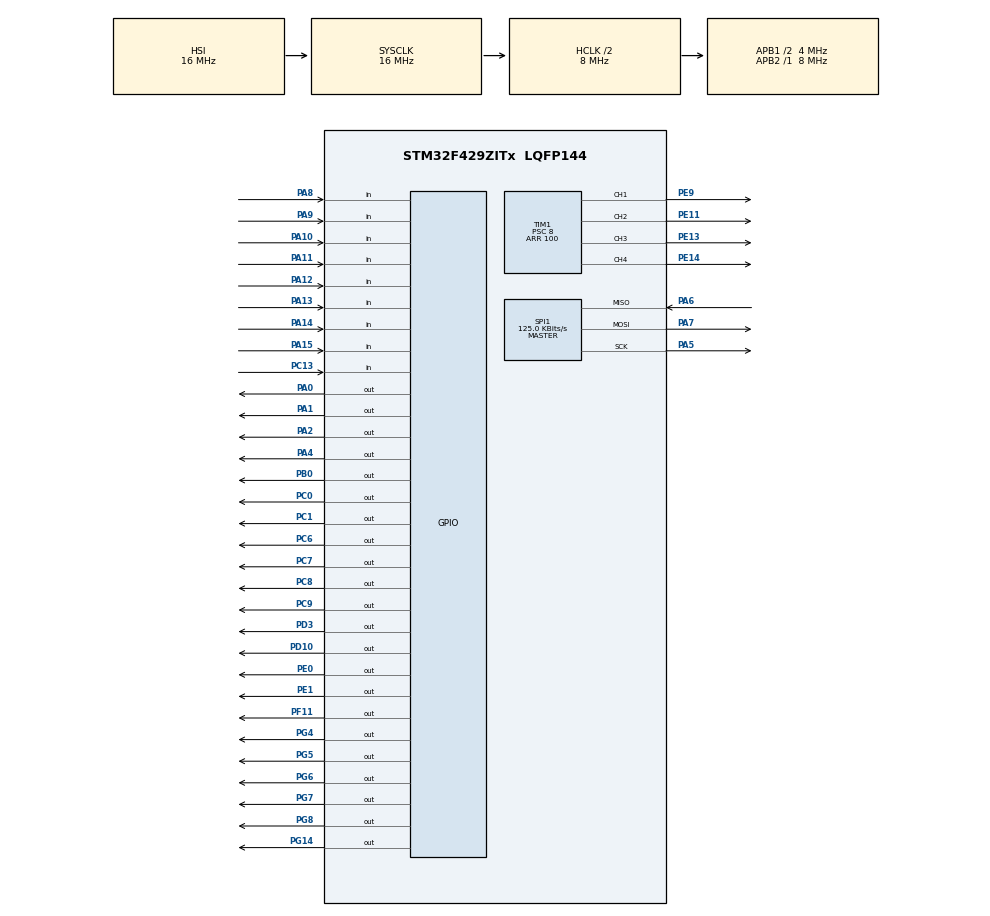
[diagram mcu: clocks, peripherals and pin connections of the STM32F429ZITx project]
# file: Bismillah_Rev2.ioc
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FREERTOS.Tasks01=defaultTask,0,128,Thread1,Default,NULL,Dynamic,NULL,NULL;thread2,-3,128,Thread2,Default,NULL,Dynamic,NULL,NULL
Mcu.Family=STM32F4
Mcu.Name=STM32F429ZITx
Mcu.Package=LQFP144
NVIC.PriorityGroup=NVIC_PRIORITYGROUP_4
NVIC.TIM2_IRQn=true\:0\:0\:false\:false\:true\:false\:false
NVIC.TimeBase=TIM2_IRQn
NVIC.TimeBaseIP=TIM2
PA0/WKUP.Signal=GPIO_Output
PA1.Signal=GPIO_Output
PA10.Signal=GPIO_Input
PA11.Signal=GPIO_Input
PA12.Signal=GPIO_Input
PA13.Signal=GPIO_Input
PA14.Signal=GPIO_Input
PA15.GPIO_PuPd=GPIO_PULLUP
PA15.Signal=GPIO_Input
PA2.Signal=GPIO_Output
PA4.Signal=GPIO_Output
PA5.Mode=Full_Duplex_Master
PA5.Signal=SPI1_SCK
PA6.Mode=Full_Duplex_Master
PA6.Signal=SPI1_MISO
PA7.Mode=Full_Duplex_Master
PA7.Signal=SPI1_MOSI
PA8.Signal=GPIO_Input
PA9.Signal=GPIO_Input
PB0.Signal=GPIO_Output
PC0.Signal=GPIO_Output
PC1.Signal=GPIO_Output
PC13.Signal=GPIO_Input
PC6.Signal=GPIO_Output
PC7.Signal=GPIO_Output
PC8.Signal=GPIO_Output
PC9.Signal=GPIO_Output
PD10.Signal=GPIO_Output
PD3.Signal=GPIO_Output
PE0.Signal=GPIO_Output
PE1.Signal=GPIO_Output
PE11.GPIO_ModeDefaultPP=GPIO_MODE_AF_PP
PE11.Signal=S_TIM1_CH2
PE13.GPIO_ModeDefaultPP=GPIO_MODE_AF_PP
PE13.Signal=S_TIM1_CH3
PE14.GPIO_ModeDefaultPP=GPIO_MODE_AF_PP
PE14.Signal=S_TIM1_CH4
PE9.GPIO_ModeDefaultPP=GPIO_MODE_AF_PP
PE9.Signal=S_TIM1_CH1
PF11.Signal=GPIO_Output
PG14.Signal=GPIO_Output
PG4.Signal=GPIO_Output
PG5.Signal=GPIO_Output
PG6.Signal=GPIO_Output
PG7.Signal=GPIO_Output
PG8.Signal=GPIO_Output
PH0/OSC_IN.Mode=HSE-External-Oscillator
PH0/OSC_IN.Signal=RCC_OSC_IN
PH1/OSC_OUT.Mode=HSE-External-Oscillator
PH1/OSC_OUT.Signal=RCC_OSC_OUT
ProjectManager.HeapSize=0x200
ProjectManager.StackSize=0x400
ProjectManager.TargetToolchain=MDK-ARM V5
RCC.48MHZClocksFreq_Value=48000000
RCC.AHBCLKDivider=RCC_SYSCLK_DIV2
RCC.AHBFreq_Value=8000000
RCC.APB1CLKDivider=RCC_HCLK_DIV2
RCC.APB1Freq_Value=4000000
RCC.APB1TimFreq_Value=8000000
RCC.APB2Freq_Value=8000000
RCC.APB2TimFreq_Value=8000000
RCC.CortexFreq_Value=8000000
RCC.HCLKFreq_Value=8000000
RCC.HSE_VALUE=8000000
RCC.HSI_VALUE=16000000
RCC.LSE_VALUE=32768
RCC.PLLMUL=RCC_PLL_MUL9
RCC.PRESCALERUSB=RCC_USBCLKSOURCE_PLL_DIV1_5
RCC.SYSCLKFreq_VALUE=16000000
RCC.SYSCLKSourceVirtual=RCC_SYSCLKSOURCE_PLLCLK
RCC.USBFreq_Value=48000000
RCC.VCOOutputFreq_Value=192000000
SH.S_TIM1_CH1.0=TIM1_CH1,PWM Generation1 CH1
SH.S_TIM1_CH2.0=TIM1_CH2,PWM Generation2 CH2
SH.S_TIM1_CH3.0=TIM1_CH3,PWM Generation3 CH3
SH.S_TIM1_CH4.0=TIM1_CH4,PWM Generation4 CH4
SPI1.BaudRatePrescaler=SPI_BAUDRATEPRESCALER_64
SPI1.CalculateBaudRate=125.0 KBits/s
SPI1.Direction=SPI_DIRECTION_2LINES
SPI1.FirstBit=SPI_FIRSTBIT_LSB
SPI1.Mode=SPI_MODE_MASTER
SPI1.VirtualType=VM_MASTER
TIM1.Channel-PWM\ Generation1\ CH1=TIM_CHANNEL_1
TIM1.Channel-PWM\ Generation2\ CH2=TIM_CHANNEL_2
TIM1.Channel-PWM\ Generation3\ CH3=TIM_CHANNEL_3
TIM1.Channel-PWM\ Generation4\ CH4=TIM_CHANNEL_4
TIM1.Period=100
TIM1.Prescaler=8
TIM1.Pulse-PWM\ Generation1\ CH1=100
TIM1.Pulse-PWM\ Generation2\ CH2=100
TIM1.Pulse-PWM\ Generation3\ CH3=100
TIM1.Pulse-PWM\ Generation4\ CH4=100
VP_FREERTOS_VS_ENABLE.Mode=Enabled
VP_SYS_VS_tim2.Mode=TIM2
VP_TIM1_VS_ClockSourceINT.Mode=Internal
board=NUCLEO-F429ZI

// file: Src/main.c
/**
  ******************************************************************************
  * File Name          : main.c
  * Description        : Main program body
  ******************************************************************************
  * This notice applies to any and all portions of this file
  * that are not between comment pairs USER CODE BEGIN and
  * USER CODE END. Other portions of this file, whether
  * inserted by the user or by software development tools
  * are owned by their respective copyright owners.
  *
  * Copyright (c) 2018 STMicroelectronics International N.V.
  * All rights reserved.
  *
  * Redistribution and use in source and binary forms, with or without
  * modification, are permitted, provided that the following conditions are met:
  *
  * 1. Redistribution of source code must retain the above copyright notice,
  *    this list of conditions and the following disclaimer.
  * 2. Redistributions in binary form must reproduce the above copyright notice,
  *    this list of conditions and the following disclaimer in the documentation
  *    and/or other materials provided with the distribution.
  * 3. Neither the name of STMicroelectronics nor the names of other
  *    contributors to this software may be used to endorse or promote products
  *    derived from this software without specific written permission.
  * 4. This software, including modifications and/or derivative works of this
  *    software, must execute solely and exclusively on microcontroller or
  *    microprocessor devices manufactured by or for STMicroelectronics.
  * 5. Redistribution and use of this software other than as permitted under
  *    this license is void and will automatically terminate your rights under
  *    this license.
  *
  * THIS SOFTWARE IS PROVIDED BY STMICROELECTRONICS AND CONTRIBUTORS "AS IS"
  * AND ANY EXPRESS, IMPLIED OR STATUTORY WARRANTIES, INCLUDING, BUT NOT
  * LIMITED TO, THE IMPLIED WARRANTIES OF MERCHANTABILITY, FITNESS FOR A
  * PARTICULAR PURPOSE AND NON-INFRINGEMENT OF THIRD PARTY INTELLECTUAL PROPERTY
  * RIGHTS ARE DISCLAIMED TO THE FULLEST EXTENT PERMITTED BY LAW. IN NO EVENT
  * SHALL STMICROELECTRONICS OR CONTRIBUTORS BE LIABLE FOR ANY DIRECT, INDIRECT,
  * INCIDENTAL, SPECIAL, EXEMPLARY, OR CONSEQUENTIAL DAMAGES (INCLUDING, BUT NOT
  * LIMITED TO, PROCUREMENT OF SUBSTITUTE GOODS OR SERVICES; LOSS OF USE, DATA,
  * OR PROFITS; OR BUSINESS INTERRUPTION) HOWEVER CAUSED AND ON ANY THEORY OF
  * LIABILITY, WHETHER IN CONTRACT, STRICT LIABILITY, OR TORT (INCLUDING
  * NEGLIGENCE OR OTHERWISE) ARISING IN ANY WAY OUT OF THE USE OF THIS SOFTWARE,
  * EVEN IF ADVISED OF THE POSSIBILITY OF SUCH DAMAGE.
  *
  ******************************************************************************
  */

/*
		LCD 2X16
		*PORTE0 ->	RS
		*PORTE1 ->	EN
		*PORTC6 ->	D4
		*PORTC7 ->	D5
		*PORTC8 ->	D6
		*PORTC9 ->	D7

		JOYSTICK
		*PORTA2 ->	Attn
		*PORTA5 ->	SCK
		*PORTA6 ->	MISO
		*PORTA7 ->	MOSI
		*PWM1		->	PORTE9
		*PWM2		->	PORTE11
		*PWM3		->	PORTE13
		*PWM4		->	PORTE14

		PENEUMATIC
		*PORTA1	-> Peneumatic Tz2 Maju
		*PORTA4	-> kosong
		*PORTC1	->
		*PORTB0	-> Peneumatic Tz2 Capit
		*PORTA0	-> Peneumatic Tz1 Maju
		*PORTD3	->
		*PORTC0	-> Peneumatic Tz1 Capit

		SENSOR
		*PORTA8		-> Limit Switch Bagian Depan Untuk ngerol
		*PORTA9		-> Proximity untuk Stop Tz2
		*PORTA10	-> Limit Switch Bagian Depan Untuk Lengan
		*PORTA11	-> Proximity Untuk Stop Tz1
		*PORTA12	-> Limit Switch Bagian Depan Untuk Lengan
		*PORTA13	-> Proximity Untuk Stop Tz1 ke 2
		*PORTA14	-> Limit Switch Bagian Belakang Untuk ngerol
		*PORTA15	-> Proximity ambil bola

		DIRECTION MOTOR
		*MOTOR1
			dirA	-> 	PORTG4
			dirB	->	PORTG6
			PWM		->	PORTE9

		*MOTOR2
			dirA	-> 	PORTG7
			dirB	->	PORTG5
			PWM		->	PORTE11

		*MOTOR3
			dirA	-> 	PORTD10
			dirB	->	PORTG8
			PWM		->	PORTE13

		*MOTOR_Lengan
			dirA	-> 	PORTG14
			dirB	->	PORTF11
			PWM		->	PORTE14

*/

#include "main.h"
#include "stm32f4xx_hal.h"
#include "cmsis_os.h"
#include "lcd_txt.h"

/* USER CODE BEGIN Includes */
#define M1FWD		HAL_GPIO_WritePin(GPIOG, GPIO_PIN_4, GPIO_PIN_RESET),HAL_GPIO_WritePin(GPIOG, GPIO_PIN_6, GPIO_PIN_SET);
#define M1RVS		HAL_GPIO_WritePin(GPIOG, GPIO_PIN_4, GPIO_PIN_SET),HAL_GPIO_WritePin(GPIOG, GPIO_PIN_6, GPIO_PIN_RESET);
#define M1STOP	HAL_GPIO_WritePin(GPIOG, GPIO_PIN_4, GPIO_PIN_RESET),HAL_GPIO_WritePin(GPIOG, GPIO_PIN_6, GPIO_PIN_RESET);
#define M1REM		HAL_GPIO_WritePin(GPIOG, GPIO_PIN_4, GPIO_PIN_SET),HAL_GPIO_WritePin(GPIOG, GPIO_PIN_6, GPIO_PIN_SET);
//#define	PWM1		htim1.Instance->CCR1

#define M2FWD		HAL_GPIO_WritePin(GPIOG, GPIO_PIN_7, GPIO_PIN_RESET),HAL_GPIO_WritePin(GPIOG, GPIO_PIN_5, GPIO_PIN_SET);
#define M2RVS		HAL_GPIO_WritePin(GPIOG, GPIO_PIN_7, GPIO_PIN_SET),HAL_GPIO_WritePin(GPIOG, GPIO_PIN_5, GPIO_PIN_RESET);
#define M2STOP	HAL_GPIO_WritePin(GPIOG, GPIO_PIN_7, GPIO_PIN_RESET),HAL_GPIO_WritePin(GPIOG, GPIO_PIN_5, GPIO_PIN_RESET);
#define M2REM		HAL_GPIO_WritePin(GPIOG, GPIO_PIN_7, GPIO_PIN_SET),HAL_GPIO_WritePin(GPIOG, GPIO_PIN_5, GPIO_PIN_SET);
//#define	PWM2		htim1.Instance->CCR2

#define M3FWD		HAL_GPIO_WritePin(GPIOD, GPIO_PIN_10, GPIO_PIN_RESET),HAL_GPIO_WritePin(GPIOG, GPIO_PIN_8, GPIO_PIN_SET);
#define M3RVS		HAL_GPIO_WritePin(GPIOD, GPIO_PIN_10, GPIO_PIN_SET),HAL_GPIO_WritePin(GPIOG, GPIO_PIN_8, GPIO_PIN_RESET);
#define M3STOP	HAL_GPIO_WritePin(GPIOD, GPIO_PIN_10, GPIO_PIN_RESET),HAL_GPIO_WritePin(GPIOG, GPIO_PIN_8, GPIO_PIN_RESET);
#define M3REM		HAL_GPIO_WritePin(GPIOD, GPIO_PIN_10, GPIO_PIN_SET),HAL_GPIO_WritePin(GPIOG, GPIO_PIN_8, GPIO_PIN_SET);
//#define	PWM3		__HAL_TIM_SetCompare(&htim1, TIM_CHANNEL_3, 30)

#define M4FWD		HAL_GPIO_WritePin(GPIOG, GPIO_PIN_14, GPIO_PIN_RESET),HAL_GPIO_WritePin(GPIOF, GPIO_PIN_11, GPIO_PIN_SET);
#define M4RVS		HAL_GPIO_WritePin(GPIOG, GPIO_PIN_14, GPIO_PIN_SET),HAL_GPIO_WritePin(GPIOF, GPIO_PIN_11, GPIO_PIN_RESET);
#define M4STOP	HAL_GPIO_WritePin(GPIOG, GPIO_PIN_14, GPIO_PIN_RESET),HAL_GPIO_WritePin(GPIOF, GPIO_PIN_11, GPIO_PIN_RESET);
#define M4REM		HAL_GPIO_WritePin(GPIOG, GPIO_PIN_14, GPIO_PIN_SET),HAL_GPIO_WritePin(GPIOF, GPIO_PIN_11, GPIO_PIN_SET);
//#define	PWM4		htim1.Instance->CCR4

#define Limit_Rol_Depan							(HAL_GPIO_ReadPin(GPIOA, GPIO_PIN_8) == GPIO_PIN_RESET)
#define Limit_Rol_Belakang 					(HAL_GPIO_ReadPin(GPIOA, GPIO_PIN_14) == GPIO_PIN_RESET)

#define Limit_Lengan_Depan					(HAL_GPIO_ReadPin(GPIOA, GPIO_PIN_12) == GPIO_PIN_RESET)
#define Limit_Lengan_Belakang 			(HAL_GPIO_ReadPin(GPIOA, GPIO_PIN_10) == GPIO_PIN_RESET)

#define Proximity_Stop_Tz1 					(HAL_GPIO_ReadPin(GPIOA, GPIO_PIN_11) == GPIO_PIN_RESET)
#define Proximity_Stop_Tz2 					(HAL_GPIO_ReadPin(GPIOA, GPIO_PIN_9) == GPIO_PIN_RESET)
#define Proximity_Stop_Tz1_2 				(HAL_GPIO_ReadPin(GPIOA, GPIO_PIN_13) == GPIO_PIN_RESET)
#define PB1											 		(HAL_GPIO_ReadPin(GPIOA, GPIO_PIN_15) == GPIO_PIN_RESET)

#define Not_Limit_Rol_Depan					HAL_GPIO_ReadPin(GPIOA, GPIO_PIN_8) == GPIO_PIN_SET
#define Not_Limit_Rol_Belakang 			HAL_GPIO_ReadPin(GPIOA, GPIO_PIN_14) == GPIO_PIN_SET
#define Not_Proximity_Stop_Tz1_2 				(HAL_GPIO_ReadPin(GPIOA, GPIO_PIN_13) == GPIO_PIN_SET)
#define Not_Proximity_Stop_Tz1 					(HAL_GPIO_ReadPin(GPIOA, GPIO_PIN_11) == GPIO_PIN_SET)

#define Not_Limit_Lengan_Depan			HAL_GPIO_ReadPin(GPIOA, GPIO_PIN_12) == GPIO_PIN_SET
#define Not_Limit_Lengan_Belakang 	HAL_GPIO_ReadPin(GPIOA, GPIO_PIN_10) == GPIO_PIN_SET

#define up				(PS2buf[3]==238)
#define	down			(PS2buf[3]==190)
#define	left			(PS2buf[3]==126)
#define	right			(PS2buf[3]==222)
#define	rightdown			(PS2buf[3]==158)

#define	segitiga	(PS2buf[4]==239)
#define	x					(PS2buf[4]==191)
#define	kotak			(PS2buf[4]==127)
#define	o					(PS2buf[4]==223)

#define	AnLUp			((PS2buf[1]==115)&&(PS2buf[9]==0)&&(PS2buf[8]==1))
#define	AnLDown		((PS2buf[1]==115)&&(PS2buf[8]==255))
#define	AnLLeft		((PS2buf[1]==115)&&(PS2buf[8]==122))
#define	AnLRight	((PS2buf[1]==115)&&(PS2buf[7]==255))

//#define	AnRUp			((PS2buf[6]==0) && (PS2buf[7]==122))//lama
#define	AnRUp			((PS2buf[6]==1) && (PS2buf[7]==122))//baru
//#define AnRDown		(PS2buf[6]==254)//lama
#define AnRDown		((PS2buf[1]==115)&&(PS2buf[6]==255))//baru
#define AnRRight	((PS2buf[5]==255) && (PS2buf[7]==123))
#define	AnRLeft		((PS2buf[1]==115)&&(PS2buf[5]==1))

#define	L1				(PS2buf[4]==251)
//#define	L2				(PS2buf[5]==132)//lama
#define	L2				(PS2buf[5]==122)//baru
#define L3				(PS2buf[3]==252)
#define	R1				(PS2buf[4]==247)
#define	R2				(PS2buf[4]==253)
#define	R3				(PS2buf[3]==250)

#define	L1L2			((PS2buf[4]==251)&&(PS2buf[5]==122))

#define	Start			(PS2buf[3]==246)
#define	Select		((PS2buf[3]==254) && (PS2buf[4]==254))

#define test_e	1

int p1=20;
int p2=15;
int	p3=30;

uint8_t test=0;
uint16_t eeprom_data[500],i;

#define	EEPROM_START_ADDRESS	((uint32_t)0x0801F800)
uint8_t PS2buf[10]={0x00,0x00, 0x00,0x00,0x00,0x00,0x00,0x00,0x00,0x00};

char buffer[30]={0};

SPI_HandleTypeDef hspi1;

TIM_HandleTypeDef htim1;

void SystemClock_Config(void);
static void MX_GPIO_Init(void);
static void MX_SPI1_Init(void);
static void MX_TIM1_Init(void);

void HAL_TIM_MspPostInit(TIM_HandleTypeDef *htim);

uint16_t Read_Flash(uint32_t adr){
	uint16_t * Pntr = (uint16_t *)adr;
	return(*Pntr);
}

void Unlock_Flash(void){
	FLASH->KEYR=0x45670123;
	FLASH->KEYR=0xCDEF89AB;
}

void Lock_Flash(void){
	FLASH->CR=0x80000000;
}

void Erase_Flash(uint32_t adr){
	FLASH->CR|=0x00000002;
	FLASH->CR=adr;
	FLASH->CR|=0x00000040;
	while((FLASH->SR&0x00010000));
	FLASH->CR &= ~0x00000042;
}

void Write_Flash(uint32_t adr, uint16_t data){
	FLASH->CR|=0x00000001;
	*(__IO uint16_t *)adr = data;
	while((FLASH->CR|=0x00000001));
}

void eeprom_all(){
	Unlock_Flash();
	Erase_Flash(EEPROM_START_ADDRESS);
	for(i=0; i<=499; i++){
		Write_Flash(EEPROM_START_ADDRESS+(uint32_t)(i*2), eeprom_data[i]);
	}
	Lock_Flash();
}

void stop(){
  M1STOP;
  M2STOP;
  M3STOP;

	__HAL_TIM_SetCompare(&htim1, TIM_CHANNEL_1, 0);
	__HAL_TIM_SetCompare(&htim1, TIM_CHANNEL_2, 0);
  __HAL_TIM_SetCompare(&htim1, TIM_CHANNEL_3, 0);
}

void lengan_rem(){
	M4REM;
	__HAL_TIM_SetCompare(&htim1, TIM_CHANNEL_4, 0);
}

void rem(){

	__HAL_TIM_SetCompare(&htim1, TIM_CHANNEL_1, 0);
	__HAL_TIM_SetCompare(&htim1, TIM_CHANNEL_2, 0);
  __HAL_TIM_SetCompare(&htim1, TIM_CHANNEL_3, 0);

		M1REM;
		M2REM;
		M3REM;
}

void maju(uint8_t pwm1, uint8_t pwm2, uint8_t pwm3){
		M1FWD;
		M2FWD;
		M3FWD;

		__HAL_TIM_SetCompare(&htim1, TIM_CHANNEL_1, pwm1);
		__HAL_TIM_SetCompare(&htim1, TIM_CHANNEL_2, pwm2);
		__HAL_TIM_SetCompare(&htim1, TIM_CHANNEL_3, pwm3);

}

void mundur(uint8_t pwm1, uint8_t pwm2, uint8_t pwm3){
		M1RVS;
		M2FWD;
		M3RVS;

		__HAL_TIM_SetCompare(&htim1, TIM_CHANNEL_1, pwm1);
		__HAL_TIM_SetCompare(&htim1, TIM_CHANNEL_2, pwm2);
		__HAL_TIM_SetCompare(&htim1, TIM_CHANNEL_3, pwm3);
}

void mundur_kanan(uint8_t pwm1, uint8_t pwm2, uint8_t pwm3){
		M1RVS;
		M2RVS;
		M3RVS;

		__HAL_TIM_SetCompare(&htim1, TIM_CHANNEL_1, pwm1);
		__HAL_TIM_SetCompare(&htim1, TIM_CHANNEL_2, pwm2);
		__HAL_TIM_SetCompare(&htim1, TIM_CHANNEL_3, pwm3);
}

void p_kanan(uint8_t pwm1, uint8_t pwm2, uint8_t pwm3){
  M1FWD;
  M2FWD;
  M3RVS;

	__HAL_TIM_SetCompare(&htim1, TIM_CHANNEL_1, pwm1);
	__HAL_TIM_SetCompare(&htim1, TIM_CHANNEL_2, pwm2);
	__HAL_TIM_SetCompare(&htim1, TIM_CHANNEL_3, pwm3);
}

void p_kiri(uint8_t pwm1, uint8_t pwm2, uint8_t pwm3){
  M1RVS;
  M2RVS;
  M3FWD;

	__HAL_TIM_SetCompare(&htim1, TIM_CHANNEL_1, pwm1);
	__HAL_TIM_SetCompare(&htim1, TIM_CHANNEL_2, pwm2);
	__HAL_TIM_SetCompare(&htim1, TIM_CHANNEL_3, pwm3);
}

void kiri(uint8_t pwm1, uint8_t pwm2, uint8_t pwm3){
	M1RVS;
  M2FWD;
  M3FWD;

	__HAL_TIM_SetCompare(&htim1, TIM_CHANNEL_1, pwm1);
	__HAL_TIM_SetCompare(&htim1, TIM_CHANNEL_2, pwm2);
	__HAL_TIM_SetCompare(&htim1, TIM_CHANNEL_3, pwm3);

}

void kanan(uint8_t pwm1, uint8_t pwm2, uint8_t pwm3){
	M1FWD;
  M2RVS;
  M3RVS;

	__HAL_TIM_SetCompare(&htim1, TIM_CHANNEL_1, pwm1);
	__HAL_TIM_SetCompare(&htim1, TIM_CHANNEL_2, pwm2);
	__HAL_TIM_SetCompare(&htim1, TIM_CHANNEL_3, pwm3);

}

void lengan_p_kanan(uint8_t pwm1){
	M4FWD;

	__HAL_TIM_SetCompare(&htim1, TIM_CHANNEL_4, pwm1);
}

void lengan_p_kiri(uint8_t pwm1){
	M4RVS;

	__HAL_TIM_SetCompare(&htim1, TIM_CHANNEL_4, pwm1);
}

void pn_tz2_maju_on(){
	HAL_GPIO_WritePin(GPIOA, GPIO_PIN_1, GPIO_PIN_SET);
}

void pn_tz2_maju_off(){
	HAL_GPIO_WritePin(GPIOA, GPIO_PIN_1, GPIO_PIN_RESET);
}

void pn_tz1_maju_on(){
	HAL_GPIO_WritePin(GPIOA, GPIO_PIN_0, GPIO_PIN_SET);
}

void pn_tz1_maju_off(){
	HAL_GPIO_WritePin(GPIOA, GPIO_PIN_0, GPIO_PIN_RESET);
}

void pn_tz2_capit_on(){
	HAL_GPIO_WritePin(GPIOB, GPIO_PIN_0, GPIO_PIN_SET);
}

void pn_tz2_capit_off(){
	HAL_GPIO_WritePin(GPIOB, GPIO_PIN_0, GPIO_PIN_RESET);
}

void pn_tz1_capit_on(){
	HAL_GPIO_WritePin(GPIOC, GPIO_PIN_0, GPIO_PIN_SET);
}

void pn_tz1_capit_off(){
	HAL_GPIO_WritePin(GPIOC, GPIO_PIN_0, GPIO_PIN_RESET);
}

void test_pn(){
	//HAL_GPIO_WritePin(GPIOA, GPIO_PIN_1, GPIO_PIN_SET);
	//HAL_GPIO_WritePin(GPIOA, GPIO_PIN_4, GPIO_PIN_SET);
	HAL_GPIO_WritePin(GPIOB, GPIO_PIN_0, GPIO_PIN_SET);
	HAL_Delay(500);
	HAL_GPIO_WritePin(GPIOC, GPIO_PIN_1, GPIO_PIN_SET);
	HAL_Delay(500);
	HAL_GPIO_WritePin(GPIOA, GPIO_PIN_0, GPIO_PIN_SET);
	HAL_Delay(500);
	HAL_GPIO_WritePin(GPIOD, GPIO_PIN_3, GPIO_PIN_SET);
	HAL_Delay(500);
	HAL_GPIO_WritePin(GPIOC, GPIO_PIN_0, GPIO_PIN_SET);

	HAL_Delay(2000);

	//HAL_GPIO_WritePin(GPIOA, GPIO_PIN_1, GPIO_PIN_RESET);
	//HAL_GPIO_WritePin(GPIOA, GPIO_PIN_4, GPIO_PIN_RESET);
	HAL_GPIO_WritePin(GPIOB, GPIO_PIN_0, GPIO_PIN_RESET);
	HAL_GPIO_WritePin(GPIOC, GPIO_PIN_1, GPIO_PIN_RESET);
	HAL_GPIO_WritePin(GPIOA, GPIO_PIN_0, GPIO_PIN_RESET);
	HAL_GPIO_WritePin(GPIOD, GPIO_PIN_3, GPIO_PIN_RESET);
	HAL_GPIO_WritePin(GPIOC, GPIO_PIN_0, GPIO_PIN_RESET);

}

uint8_t PS2_RWByte(uint8_t komenda, uint8_t tablica, int wielkosc){
   HAL_SPI_TransmitReceive(&hspi1, &komenda, &tablica, sizeof(uint8_t), 1);
   //HAL_SPI_Receive(&hspi1, &tablica, sizeof(tablica), 1);
   return(tablica);
}

uint8_t Get_PS2Dat(uint8_t buf[]){
   HAL_GPIO_WritePin(GPIOA, GPIO_PIN_2, GPIO_PIN_RESET);
   HAL_Delay(15/1000);
   buf[0]=PS2_RWByte(0x01, buf[0], 8);HAL_Delay(15/1000);
   buf[1]=PS2_RWByte(0x42, buf[1], 8);HAL_Delay(15/1000);
   buf[2]=PS2_RWByte(0x00, buf[2], 8);HAL_Delay(15/1000);
   buf[3]=PS2_RWByte(0x00, buf[3], 8);HAL_Delay(15/1000);
   buf[4]=PS2_RWByte(0x00, buf[4], 8);HAL_Delay(15/1000);
   buf[5]=PS2_RWByte(0x00, buf[5], 8);HAL_Delay(15/1000);
   buf[6]=PS2_RWByte(0x00, buf[6], 8);HAL_Delay(15/1000);
   buf[7]=PS2_RWByte(0x00, buf[7], 8);HAL_Delay(15/1000);
   buf[8]=PS2_RWByte(0x00, buf[8], 8);HAL_Delay(15/1000);
	 buf[9]=PS2_RWByte(0x00, buf[9], 8);HAL_Delay(15/1000);

   HAL_GPIO_WritePin(GPIOA, GPIO_PIN_2, GPIO_PIN_SET);

	 if((buf[0]==0xff)&&(buf[1]==0x41)&&(buf[2]==0x5a))
   return 1;
   if((buf[0]==0xff)&&(buf[1]==0x73)&&(buf[2]==0x5a))
   return 2;
   return 0;
}

void save(){
	Unlock_Flash();
	Write_Flash(EEPROM_START_ADDRESS+(uint32_t)(test_e * 2), test);
}

void load(){
	Unlock_Flash();
	test=Read_Flash(EEPROM_START_ADDRESS+(uint32_t)(test_e * 2));
}

/* USER CODE END Includes */

SPI_HandleTypeDef hspi1;

TIM_HandleTypeDef htim1;

osThreadId defaultTaskHandle;
osThreadId thread2Handle;

/* USER CODE BEGIN PV */
/* Private variables ---------------------------------------------------------*/

/* USER CODE END PV */

void SystemClock_Config(void);
static void MX_GPIO_Init(void);
static void MX_SPI1_Init(void);
static void MX_TIM1_Init(void);
void Thread1(void const * argument);
void Thread2(void const * argument);

void HAL_TIM_MspPostInit(TIM_HandleTypeDef *htim);

/* USER CODE BEGIN PFP */
/* Private function prototypes -----------------------------------------------*/

/* USER CODE END PFP */

int main(void)
{

	HAL_Init();
  SystemClock_Config();

  MX_GPIO_Init();
  MX_SPI1_Init();
  MX_TIM1_Init();

	HAL_SPI_MspInit(&hspi1);

	HAL_TIM_PWM_Start(&htim1, TIM_CHANNEL_1);
	HAL_TIM_PWM_Start(&htim1, TIM_CHANNEL_2);
	HAL_TIM_PWM_Start(&htim1, TIM_CHANNEL_3);
	HAL_TIM_PWM_Start(&htim1, TIM_CHANNEL_4);

	lcd_init();

  /* USER CODE BEGIN 1 */
/*===============================Start Menu=====================================*/
/*
	panel1:
	while(1){
		lcd_puts(0,0,(int8_t*)"   KRAI_2018   ");
		lcd_puts(0,0,(int8_t*)"Setting    Start");
		Get_PS2Dat(PS2buf);

		while(1){
			Get_PS2Dat(PS2buf);

			if(Select){while(Select){};Get_PS2Dat(PS2buf); test++; save();}
			if(Start){while(Start){}; Get_PS2Dat(PS2buf); test--; save();}

			sprintf(buffer,"%3d",test);
			lcd_puts(1,0, (int8_t*)buffer);

		}

		panel2:
		lcd_clear();
		while(1){
		}
	}
*/
/*===============================End Menu=====================================*/

	/*
	step1:
	while(Limit_Lengan_Depan){
		lengan_rem();
		Get_PS2Dat(PS2buf);
		stop();
		lcd_puts(0,0,(int8_t*)"Step1");

		if(up){
			lcd_clear();

			while(Limit_Lengan_Depan){
				lengan_rem();
				Get_PS2Dat(PS2buf);

				lcd_puts(1,0,(int8_t*)"Up");
				HAL_Delay(10);
				maju(40, 25, 60);
				lcd_clear();

				if(!up){
					rem();
					goto step1;
				}
			}
		}

		else if(down){
			lcd_clear();

			while(Limit_Lengan_Depan){
				lengan_rem();
				Get_PS2Dat(PS2buf);

				lcd_puts(1,0,(int8_t*)"Down");
				HAL_Delay(10);
				mundur(100, 25, 85);
				lcd_clear();

				if(!down){
					rem();
					goto start;
				}
			}
		}

		else if(left){
			lcd_clear();

			while(Limit_Lengan_Depan){
				lengan_rem();
				Get_PS2Dat(PS2buf);

				lcd_puts(1,0,(int8_t*)"Left");
				HAL_Delay(10);
				p_kiri(15, 15, 15);

				if(!left)goto step1;
			}
		}

	}

	while(Not_Limit_Lengan_Depan){
		Get_PS2Dat(PS2buf);
		stop();
		lengan_p_kiri(20);
		lcd_puts(0,0,(int8_t*)"Step1.2");

		if(up){
			lcd_clear();

			while(Not_Limit_Lengan_Depan){
				lengan_p_kiri(20);
				Get_PS2Dat(PS2buf);

				lcd_puts(1,0,(int8_t*)"Up");
				HAL_Delay(10);
				lengan_p_kiri(20);
				maju(40, 25, 60);
				lcd_clear();

				if(!up){
					rem();
					goto step1;
				}
			}
		}
	}
	*/
  /* USER CODE END 1 */

  /* MCU Configuration----------------------------------------------------------*/

  /* Reset of all peripherals, Initializes the Flash interface and the Systick. */
  HAL_Init();

  /* Configure the system clock */
  SystemClock_Config();

  /* Initialize all configured peripherals */
  MX_GPIO_Init();
  MX_SPI1_Init();
  MX_TIM1_Init();

  /* Create the thread(s) */
  /* definition and creation of defaultTask */
  osThreadDef(defaultTask, Thread1, osPriorityNormal, 0, 128);
  defaultTaskHandle = osThreadCreate(osThread(defaultTask), NULL);

  /* definition and creation of thread2 */
  osThreadDef(thread2, Thread2, osPriorityIdle, 0, 128);
  thread2Handle = osThreadCreate(osThread(thread2), NULL);

  /* Start scheduler */
  osKernelStart();

  /* We should never get here as control is now taken by the scheduler */

  /* Infinite loop */
  /* USER CODE BEGIN WHILE */
  start:
	while (1){
		Get_PS2Dat(PS2buf);
		stop();
		lengan_rem();

		/*
		sprintf(buffer,"%3d",p1);
		lcd_puts(1,0, (int8_t*)buffer);

		sprintf(buffer,"%3d",p2);
		lcd_puts(1,7, (int8_t*)buffer);

		sprintf(buffer,"%3d",p3);
		lcd_puts(1,12, (int8_t*)buffer);

		if(L2){
			p1=p1+5;
			HAL_Delay(50);
		}

		if(R2){
			p3=p3+5;
			HAL_Delay(50);
		}

		if(R1){
			p2=p2+5;
			HAL_Delay(50);
		}

		if(kotak){
			p1=p1-5;
			HAL_Delay(50);
		}

		if(x){
			p2=p2-5;
			HAL_Delay(50);
		}

		if(o){
			p3=p3-5;
			HAL_Delay(50);
		}
		*/

		if(Start){
			while(1){
				lcd_clear();
				Get_PS2Dat(PS2buf);

				if(Limit_Rol_Depan){
					lcd_puts(1,0,(int8_t*)"OK_1");
					HAL_Delay(100);
					lcd_clear();
				}

				if(Limit_Rol_Belakang){
					lcd_puts(1,4,(int8_t*)"OK_2");
					HAL_Delay(100);
					lcd_clear();
				}

				if(Limit_Lengan_Depan){
					lcd_puts(1,9,(int8_t*)"OK_3");
					HAL_Delay(100);
					lcd_clear();
				}

				if(Limit_Lengan_Belakang){
					lcd_puts(1,13,(int8_t*)"OK_4");
					HAL_Delay(100);
					lcd_clear();
				}

				if(Proximity_Stop_Tz1){
					lcd_puts(0,0,(int8_t*)"Proximity1");
					HAL_Delay(100);
					lcd_clear();
				}

				if(Proximity_Stop_Tz2){
					lcd_puts(0,10,(int8_t*)"Proximity2");
					HAL_Delay(100);
					lcd_clear();
				}

				if(Not_Limit_Rol_Depan){
					lcd_puts(1,0,(int8_t*)"Off1");
					HAL_Delay(100);
					lcd_clear();
				}

				if(Not_Limit_Rol_Belakang){
					lcd_puts(1,4,(int8_t*)"Off2");
					HAL_Delay(100);
					lcd_clear();
				}

				if(Not_Limit_Lengan_Depan){
					lcd_puts(1,9,(int8_t*)"Off3");
					HAL_Delay(100);
					lcd_clear();
				}

				if(Not_Limit_Lengan_Belakang){
					lcd_puts(1,13,(int8_t*)"Off4");
					HAL_Delay(100);
					lcd_clear();
				}
				if(Proximity_Stop_Tz1_2){
					lcd_puts(0,5,(int8_t*)"Proximity3");
					HAL_Delay(100);
					lcd_clear();
				}
				pn_tz1_maju_on();

				if(!Start)goto start;
			}
		}

		/*
		if(Not_Limit_Rol_Depan){
			lcd_puts(1,0,(int8_t*)"Off1");
			HAL_Delay(100);
			lcd_clear();
		}

		if(Not_Limit_Rol_Belakang){
			lcd_puts(1,4,(int8_t*)"Off2");
			HAL_Delay(100);
			lcd_clear();
		}

		if(Not_Limit_Lengan_Depan){
			lcd_puts(1,9,(int8_t*)"Off3");
			HAL_Delay(100);
			lcd_clear();
		}

		if(Not_Limit_Lengan_Belakang){
			lcd_puts(1,13,(int8_t*)"Off4");
			HAL_Delay(100);
			lcd_clear();
		}
		*/

		if(up){
			lcd_clear();
			//pn_tz2_maju_on();

			while(1){
				Get_PS2Dat(PS2buf);

				lcd_puts(1,0,(int8_t*)"Up");
				HAL_Delay(10);
				maju(70, 27, 95);
				lengan_p_kiri(25);
				lcd_clear();

				if(Limit_Lengan_Depan){
					pn_tz1_maju_off();
					//pn_tz2_maju_off();
					//maju(70, 25, 90);
					lengan_rem();
					//break;
				}

				if(!up){
					rem();
					HAL_Delay(400);
					goto start;
				}
			}
		}

		else if(down){
			lcd_clear();
			pn_tz1_maju_off();
			pn_tz2_maju_off();

			while(1){
				Get_PS2Dat(PS2buf);

				lcd_puts(1,0,(int8_t*)"Down");
				HAL_Delay(10);
				mundur(100, 25, 85);
				lcd_clear();

				if(rightdown){
					lcd_clear();

					while(1){
						Get_PS2Dat(PS2buf);

						lcd_puts(1,0,(int8_t*)"Serong");
						HAL_Delay(10);
						mundur_kanan(80, 25, 100); //50,23,84
						lcd_clear();

						if(Select){
							rem();
							HAL_Delay(700);
							goto start;
						}

						if(Limit_Rol_Belakang){

							while(1){
								mundur_kanan(35, 17, 70);
								lengan_p_kanan(30);

								if((Not_Limit_Rol_Belakang) && (Proximity_Stop_Tz2)){
									rem();

									M2FWD;
									__HAL_TIM_SetCompare(&htim1, TIM_CHANNEL_2, 18);
									HAL_Delay(300);

									while(1){
										mundur(25, 0, 26);

										if(Not_Proximity_Stop_Tz1_2){
											rem();
											HAL_Delay(400);
											maju(25, 0, 25);

											M2RVS;
											__HAL_TIM_SetCompare(&htim1, TIM_CHANNEL_2, 20);

											HAL_Delay(200);
											rem();
											M2FWD;
											__HAL_TIM_SetCompare(&htim1, TIM_CHANNEL_2, 20);
											HAL_Delay(200);
											rem();

											while(Proximity_Stop_Tz1_2){
												mundur(18, 0, 18);

											}
											rem();

											//pn_tz1_maju_on();
											HAL_Delay(400);

											if(Not_Proximity_Stop_Tz1){
												while(1){
													kanan(15, 40, 20);

													if(Proximity_Stop_Tz1){
														rem();
														HAL_Delay(400);
														goto tz1;
													}

												}
											}

											while(1){
												tz1:
												stop();
												Get_PS2Dat(PS2buf);

											 if(AnRUp){
													lcd_clear();

													while(1){
														Get_PS2Dat(PS2buf);

														lcd_puts(1,0,(int8_t*)"An.R.Up");
														HAL_Delay(20);
														maju(20, 0, 20);

														if(!AnRUp)goto tz1;
													}
												}

												else if(AnRDown){
													lcd_clear();

													while(1){
														Get_PS2Dat(PS2buf);

														lcd_puts(1,0,(int8_t*)"An.R.Down");
														HAL_Delay(20);
														mundur(20, 0, 20);

														if(!AnRDown)goto tz1;
													}
												}

												else if(AnRRight){
													lcd_clear();

													while(1){
														Get_PS2Dat(PS2buf);

														lcd_puts(1,0,(int8_t*)"An.R.Right");
														HAL_Delay(20);
														kanan(15, 40, 20);

														if(!AnRRight)goto tz1;
													}
												}

												else if(AnRLeft){
													lcd_clear();

													while(1){
														Get_PS2Dat(PS2buf);

														lcd_puts(1,0,(int8_t*)"An.R.Left");
														HAL_Delay(20);
														kiri(20, 35, 15);

														if(!AnRLeft)goto tz1;
													}
												}

												else if(left){
													lcd_clear();

													while(1){
														Get_PS2Dat(PS2buf);

														lcd_puts(1,0,(int8_t*)"Left");
														HAL_Delay(10);
														p_kiri(20, 20, 20);

														if(!left)goto tz1;
													}
												}

												else if(right){
													lcd_clear();

													while(1){
														Get_PS2Dat(PS2buf);

														lcd_puts(1,0,(int8_t*)"Right");
														HAL_Delay(10);
														p_kanan(20, 20, 20);

														if(!right)goto tz1;
													}
												}

												else if(kotak){
													lcd_clear();

													//while(1){
														//Get_PS2Dat(PS2buf);

														pn_tz1_maju_on();
														HAL_Delay(350);
														pn_tz1_capit_off();
														HAL_Delay(100);
														pn_tz1_maju_off();
														goto start;

														//if(!kotak)goto start;
													//}

													/*
													Get_PS2Dat(PS2buf);
													lcd_puts(1,0,(int8_t*)"Kotak");
													pn_tz1_capit_off();
													HAL_Delay(400);
													pn_tz1_maju_off();
													HAL_Delay(300);
													maju(25, 0, 25);
													HAL_Delay(130);
													rem();
													HAL_Delay(50);
													goto start;
													*/
												}
											}
										}
									}
								}
							}
						}
					}
				}

				if(!down){
					rem();
					HAL_Delay(500);
					goto start;
				}
			}
		}

		else if(left){
			lcd_clear();

			while(1){
				Get_PS2Dat(PS2buf);

				lcd_puts(1,0,(int8_t*)"Left");
				HAL_Delay(10);
				p_kiri(20, 20, 20);

				if(!left)goto start;
			}
		}

		else if(right){
			lcd_clear();

			while(1){
				Get_PS2Dat(PS2buf);

				lcd_puts(1,0,(int8_t*)"Right");
				HAL_Delay(10);
				p_kanan(20, 20, 20);

				if(!right)goto start;
			}
		}

/*
		if(rightdown){
			lcd_clear();

			while(1){
				Get_PS2Dat(PS2buf);

				lcd_puts(1,0,(int8_t*)"Serong");
				HAL_Delay(10);
				mundur_kanan(55, 25, 82); //70,30,95
				lcd_clear();

				if(Select){
					rem();
					HAL_Delay(700);
					goto start;
				}

				if(Proximity_Stop_Tz1){
					rem();
					HAL_Delay(200);

					M2RVS;
					__HAL_TIM_SetCompare(&htim1, TIM_CHANNEL_2, 20);

					HAL_Delay(300);
					goto start;
				}

				if((Limit_Rol_Depan) && (Limit_Rol_Belakang)){

					while(1){
						mundur_kanan(60, 25, 75);
						lengan_p_kanan(30);

						if(Limit_Lengan_Belakang){
							lengan_rem();
							HAL_Delay(500);
							break;
						}

						if(Select){
							rem();
							HAL_Delay(700);
							goto start;
						}

						if((Limit_Rol_Depan) && (Not_Limit_Rol_Belakang)){
							while(1){
								mundur(20, 25, 30);

								if(Select){
									rem();
									HAL_Delay(700);
									goto start;
								}

								if(Proximity_Stop_Tz1){
									rem();
									HAL_Delay(200);

									M2RVS;
									__HAL_TIM_SetCompare(&htim1, TIM_CHANNEL_2, 20);

									HAL_Delay(300);
									goto start;
								}

								while((Not_Limit_Rol_Depan) && (Not_Limit_Rol_Belakang)){
									mundur(20, 15, 20);

									if(Proximity_Stop_Tz1){
										while(1){
											rem();
											HAL_Delay(300);

											M2RVS;
											__HAL_TIM_SetCompare(&htim1, TIM_CHANNEL_2, 20);

											HAL_Delay(300);

											while(1){
												mundur_kanan(25, 0, 25);

												if(Not_Proximity_Stop_Tz1_2){
													rem();
													HAL_Delay(500);
													pn_tz1_maju_on();
													HAL_Delay(600);
													goto start;
												}

												if(Proximity_Stop_Tz1_2){
													mundur_kanan(25, 0, 25);
												}

												if(Select){
													rem();
													HAL_Delay(700);
													goto start;
												}
											}
										}
									}

									if(Select){
										rem();
										HAL_Delay(700);
										goto start;
									}
								}
							}
						}
					}
				}
			}
		}
*/
		else if(x){
			lcd_clear();

			while(1){
				Get_PS2Dat(PS2buf);
				lcd_puts(1,0,(int8_t*)"X");
				HAL_Delay(20);
				pn_tz1_capit_on();
				pn_tz2_capit_on();

				if(!x)goto start;
			}
		}

		else if(segitiga){
			lcd_clear();

			while(1){

				Get_PS2Dat(PS2buf);
				//maju(70, 27, 95);
				//lengan_p_kiri(25);

				//if(Limit_Lengan_Depan){
					//pn_tz1_maju_off();
					////pn_tz2_maju_off();
					////maju(70, 25, 90);
					//lengan_rem();
					////break;
				//}

				//if(Proximity_Stop_Tz1_Bola){
					//HAL_Delay(10);
					//rem();
					//HAL_Delay(400);
					//pn_tz1_capit_on();
					//pn_tz2_capit_on();
					//HAL_Delay(100);
					//goto start;
				//}

				//if(Select){
					//rem();
					//HAL_Delay(400);
					//goto start;
				//}

				Get_PS2Dat(PS2buf);
				lcd_puts(1,0,(int8_t*)"Segitiga");
				HAL_Delay(20);
				pn_tz2_maju_off();
				pn_tz1_maju_off();

				if(!segitiga)goto start;

			}
		}

		else if(kotak){
			lcd_clear();

			while(1){
				Get_PS2Dat(PS2buf);
				lcd_puts(1,0,(int8_t*)"Kotak");
				HAL_Delay(20);
				pn_tz1_capit_off();
				HAL_Delay(400);
				pn_tz1_maju_off();

				if(!kotak)goto start;
			}
		}

		else if(o){
			lcd_clear();
			Get_PS2Dat(PS2buf);
			lcd_puts(1,0,(int8_t*)"O");
			pn_tz2_maju_on();
			HAL_Delay(450);
			pn_tz2_capit_off();
		}

		else if(AnLUp){
			lcd_clear();

			while(1){
				Get_PS2Dat(PS2buf);

				lcd_puts(1,0,(int8_t*)"An.L.Up");
				maju(50, 0, 50);
				HAL_Delay(10);

				if(!AnLUp)goto start;
			}
		}

		else if(AnLDown){
			lcd_clear();

			while(1){
				Get_PS2Dat(PS2buf);

				lcd_puts(1,0,(int8_t*)"An.L.Down");
				HAL_Delay(10);
				mundur(50, 0, 50);

				if(!AnLDown)goto start;
			}
		}

		else if(AnLLeft){
			lcd_clear();

			while(1){
				Get_PS2Dat(PS2buf);

				lcd_puts(1,0,(int8_t*)"An.L.Left");
				HAL_Delay(20);
				kiri(33, 60, 35);

				if(!AnLLeft)goto start;
			}
		}

		else if(AnLRight){
			lcd_clear();

			while(1){
				Get_PS2Dat(PS2buf);

				lcd_puts(1,0,(int8_t*)"An.R.Right");
				HAL_Delay(20);
				kanan(35, 60, 35);

				if(!AnLRight)goto start;
			}
		}

		else if(AnRUp){
			lcd_clear();

			while(1){
				Get_PS2Dat(PS2buf);

				lcd_puts(1,0,(int8_t*)"An.R.Up");
				HAL_Delay(20);
				maju(20, 0, 20);

				if(!AnRUp)goto start;
			}
		}

		else if(AnRDown){
			lcd_clear();

			while(1){
				Get_PS2Dat(PS2buf);

				lcd_puts(1,0,(int8_t*)"An.R.Down");
				HAL_Delay(20);
				mundur(20, 0, 20);

				if(!AnRDown)goto start;
			}
		}

		else if(AnRRight){
			lcd_clear();

			while(1){
				Get_PS2Dat(PS2buf);

				lcd_puts(1,0,(int8_t*)"An.R.Right");
				HAL_Delay(20);
				kanan(15, 40, 20);

				if(!AnRRight)goto start;
			}
		}

		else if(AnRLeft){
			lcd_clear();

			while(1){
				Get_PS2Dat(PS2buf);

				lcd_puts(1,0,(int8_t*)"An.R.Left");
				HAL_Delay(20);
				kiri(20, 35, 15);

				if(!AnRLeft)goto start;
			}
		}

		if(R2){
			lcd_clear();

			while(1){
				Get_PS2Dat(PS2buf);

				lengan_p_kiri(25);

				if(Limit_Lengan_Depan){
					lengan_rem();
					goto start;
				}

				if(!R2)goto start;
			}
		}

		if(R1){
			lcd_clear();

			while(1){
				Get_PS2Dat(PS2buf);

				lengan_p_kanan(25);

				if(Limit_Lengan_Belakang){
					lengan_rem();
					goto start;
				}
				if(!R1)goto start;
			}
		}

		if(L2){
			lcd_clear();
			HAL_Delay(100);
			pn_tz2_capit_on();

			while(1){
				Get_PS2Dat(PS2buf);
				mundur(100, 25, 85);

				if(L1L2){
					lcd_clear();
					mundur(100, 25, 100);
					HAL_Delay(3200);

					while(1){
						Get_PS2Dat(PS2buf);

						lcd_puts(1,0,(int8_t*)"L1 L2");
						mundur(76, 25, 40);
						lengan_p_kanan(35);

						if(Limit_Lengan_Belakang){
							lengan_rem();
							pn_tz2_maju_on();
							//break;
						}

						/*if(x){
							lcd_clear();

							while(1){
								Get_PS2Dat(PS2buf);
								mundur(76, 25, 40); //25

								if(Proximity_Stop_Tz2){
									HAL_Delay(120);
									rem();
									HAL_Delay(250);
									pn_tz2_capit_off();
									M2RVS;
									__HAL_TIM_SetCompare(&htim1, TIM_CHANNEL_2, 20);
									HAL_Delay(200);
									pn_tz2_maju_off();

									goto start;
								}

								if(Select){
									rem();
									HAL_Delay(700);
									goto start;
								}
							}
						}*/

						if(Proximity_Stop_Tz2){
							rem();
							HAL_Delay(350);
							pn_tz2_capit_off();
							M2RVS;
							__HAL_TIM_SetCompare(&htim1, TIM_CHANNEL_2, 20);
							HAL_Delay(400);
							pn_tz2_maju_off();

							goto start;
						}

						if(Select){
							rem();
							HAL_Delay(700);
							goto start;
						}
					}
				}

			if(!L2){
				rem();
				HAL_Delay(700);
				goto start;
			}
		}
	}

	if(L1){
		lcd_clear();

		while(1){
			Get_PS2Dat(PS2buf);
			lcd_puts(1,0,(int8_t*)"L1");
			maju(50, 50, 90);
			pn_tz2_maju_off();
			pn_tz1_maju_off();

			if(!L1)goto start;
		}
	}

	if(L1L2){
		lcd_clear();

		while(1){
			Get_PS2Dat(PS2buf);

			lcd_puts(1,0,(int8_t*)"L1 L2");
			mundur(100, 25, 100);
			lengan_p_kanan(30);

			if(Limit_Lengan_Belakang){
				lengan_rem();
				break;
			}

			if(Proximity_Stop_Tz2){
				rem();
				pn_tz2_capit_off();
				HAL_Delay(400);
				M2RVS;
				__HAL_TIM_SetCompare(&htim1, TIM_CHANNEL_2, 20);
				HAL_Delay(300);
				pn_tz2_maju_off();

				goto start;
			}

			if(Select){
				rem();
				HAL_Delay(700);
				goto start;
			}
		}
	}

/*	if(R3){
		lcd_clear();

		while(1){
			Get_PS2Dat(PS2buf);
			maju(70, 27, 95);

			if(Proximity_Stop_Tz1_Bola){
				rem();
				HAL_Delay(300);
				pn_tz1_capit_on();
				pn_tz2_capit_on();
				HAL_Delay(100);
				goto start;
			}

			if(Select){
				rem();
				HAL_Delay(400);
				goto start;
			}

		}
	}*/

	if(L3){
		lcd_clear();

		while(1){

			lcd_clear();
					mundur(100, 25, 100);
					HAL_Delay(3200);

					while(1){
						Get_PS2Dat(PS2buf);

						lcd_puts(1,0,(int8_t*)"L3");
						mundur(76, 25, 40);

						if(Proximity_Stop_Tz2){

							rem();
							HAL_Delay(350);
							pn_tz2_maju_on();

							while(1){
								lengan_p_kanan(35);

						if(Limit_Lengan_Belakang){
							HAL_Delay(100);
							lengan_rem();
							pn_tz2_capit_off();
							M2RVS;
							__HAL_TIM_SetCompare(&htim1, TIM_CHANNEL_2, 20);
							HAL_Delay(400);
							pn_tz2_maju_off();

							goto start;

	}

							//break;
						}

						}

						if(Select){
							rem();
							HAL_Delay(700);
							goto start;
						}
					}
				}

			/*Get_PS2Dat(PS2buf);
			maju(30, 20, 37);
			if(!L3){
				rem();
				HAL_Delay(300);
				goto start;
			}*/
		}

/*
		sprintf(buffer,"%3d",PS2buf[8]);
		lcd_puts(0,0, (int8_t*)buffer);

		sprintf(buffer,"%3d",PS2buf[1]);
		lcd_puts(0,4, (int8_t*)buffer);

		sprintf(buffer,"%3d",PS2buf[9]);
		lcd_puts(0,8, (int8_t*)buffer);

		sprintf(buffer,"%3d",PS2buf[3]);
		lcd_puts(0,12, (int8_t*)buffer);

		sprintf(buffer,"%3d",PS2buf[4]);
		lcd_puts(1,0, (int8_t*)buffer);

		sprintf(buffer,"%3d",PS2buf[5]);
		lcd_puts(1,4, (int8_t*)buffer);

		sprintf(buffer,"%3d",PS2buf[6]);
		lcd_puts(1,8, (int8_t*)buffer);

		sprintf(buffer,"%3d",PS2buf[7]);
		lcd_puts(1,12, (int8_t*)buffer);
*/
  }

}
  /* USER CODE END 3 */

/** System Clock Configuration
*/
void SystemClock_Config(void)
{

  RCC_OscInitTypeDef RCC_OscInitStruct;
  RCC_ClkInitTypeDef RCC_ClkInitStruct;

    /**Configure the main internal regulator output voltage
    */
  __HAL_RCC_PWR_CLK_ENABLE();

  __HAL_PWR_VOLTAGESCALING_CONFIG(PWR_REGULATOR_VOLTAGE_SCALE3);

    /**Initializes the CPU, AHB and APB busses clocks
    */
  RCC_OscInitStruct.OscillatorType = RCC_OSCILLATORTYPE_HSI;
  RCC_OscInitStruct.HSIState = RCC_HSI_ON;
  RCC_OscInitStruct.HSICalibrationValue = 16;
  RCC_OscInitStruct.PLL.PLLState = RCC_PLL_NONE;
  if (HAL_RCC_OscConfig(&RCC_OscInitStruct) != HAL_OK)
  {
    _Error_Handler(__FILE__, __LINE__);
  }

    /**Initializes the CPU, AHB and APB busses clocks
    */
  RCC_ClkInitStruct.ClockType = RCC_CLOCKTYPE_HCLK|RCC_CLOCKTYPE_SYSCLK
                              |RCC_CLOCKTYPE_PCLK1|RCC_CLOCKTYPE_PCLK2;
  RCC_ClkInitStruct.SYSCLKSource = RCC_SYSCLKSOURCE_HSI;
  RCC_ClkInitStruct.AHBCLKDivider = RCC_SYSCLK_DIV2;
  RCC_ClkInitStruct.APB1CLKDivider = RCC_HCLK_DIV2;
  RCC_ClkInitStruct.APB2CLKDivider = RCC_HCLK_DIV1;

  if (HAL_RCC_ClockConfig(&RCC_ClkInitStruct, FLASH_LATENCY_0) != HAL_OK)
  {
    _Error_Handler(__FILE__, __LINE__);
  }

    /**Configure the Systick interrupt time
    */
  HAL_SYSTICK_Config(HAL_RCC_GetHCLKFreq()/1000);

    /**Configure the Systick
    */
  HAL_SYSTICK_CLKSourceConfig(SYSTICK_CLKSOURCE_HCLK);

  /* SysTick_IRQn interrupt configuration */
  HAL_NVIC_SetPriority(SysTick_IRQn, 15, 0);
}

/* SPI1 init function */
static void MX_SPI1_Init(void)
{

  /* SPI1 parameter configuration*/
  hspi1.Instance = SPI1;
  hspi1.Init.Mode = SPI_MODE_MASTER;
  hspi1.Init.Direction = SPI_DIRECTION_2LINES;
  hspi1.Init.DataSize = SPI_DATASIZE_8BIT;
  hspi1.Init.CLKPolarity = SPI_POLARITY_LOW;
  hspi1.Init.CLKPhase = SPI_PHASE_1EDGE;
  hspi1.Init.NSS = SPI_NSS_SOFT;
  hspi1.Init.BaudRatePrescaler = SPI_BAUDRATEPRESCALER_64;
  hspi1.Init.FirstBit = SPI_FIRSTBIT_LSB;
  hspi1.Init.TIMode = SPI_TIMODE_DISABLE;
  hspi1.Init.CRCCalculation = SPI_CRCCALCULATION_DISABLE;
  hspi1.Init.CRCPolynomial = 10;
  if (HAL_SPI_Init(&hspi1) != HAL_OK)
  {
    _Error_Handler(__FILE__, __LINE__);
  }

}

/* TIM1 init function */
static void MX_TIM1_Init(void)
{

  TIM_ClockConfigTypeDef sClockSourceConfig;
  TIM_MasterConfigTypeDef sMasterConfig;
  TIM_OC_InitTypeDef sConfigOC;
  TIM_BreakDeadTimeConfigTypeDef sBreakDeadTimeConfig;

  htim1.Instance = TIM1;
  htim1.Init.Prescaler = 8;
  htim1.Init.CounterMode = TIM_COUNTERMODE_UP;
  htim1.Init.Period = 100;
  htim1.Init.ClockDivision = TIM_CLOCKDIVISION_DIV1;
  htim1.Init.RepetitionCounter = 0;
  if (HAL_TIM_Base_Init(&htim1) != HAL_OK)
  {
    _Error_Handler(__FILE__, __LINE__);
  }

  sClockSourceConfig.ClockSource = TIM_CLOCKSOURCE_INTERNAL;
  if (HAL_TIM_ConfigClockSource(&htim1, &sClockSourceConfig) != HAL_OK)
  {
    _Error_Handler(__FILE__, __LINE__);
  }

  if (HAL_TIM_PWM_Init(&htim1) != HAL_OK)
  {
    _Error_Handler(__FILE__, __LINE__);
  }

  sMasterConfig.MasterOutputTrigger = TIM_TRGO_RESET;
  sMasterConfig.MasterSlaveMode = TIM_MASTERSLAVEMODE_DISABLE;
  if (HAL_TIMEx_MasterConfigSynchronization(&htim1, &sMasterConfig) != HAL_OK)
  {
    _Error_Handler(__FILE__, __LINE__);
  }

  sConfigOC.OCMode = TIM_OCMODE_PWM1;
  sConfigOC.Pulse = 100;
  sConfigOC.OCPolarity = TIM_OCPOLARITY_HIGH;
  sConfigOC.OCNPolarity = TIM_OCNPOLARITY_HIGH;
  sConfigOC.OCFastMode = TIM_OCFAST_DISABLE;
  sConfigOC.OCIdleState = TIM_OCIDLESTATE_RESET;
  sConfigOC.OCNIdleState = TIM_OCNIDLESTATE_RESET;
  if (HAL_TIM_PWM_ConfigChannel(&htim1, &sConfigOC, TIM_CHANNEL_1) != HAL_OK)
  {
    _Error_Handler(__FILE__, __LINE__);
  }

  if (HAL_TIM_PWM_ConfigChannel(&htim1, &sConfigOC, TIM_CHANNEL_2) != HAL_OK)
  {
    _Error_Handler(__FILE__, __LINE__);
  }

  if (HAL_TIM_PWM_ConfigChannel(&htim1, &sConfigOC, TIM_CHANNEL_3) != HAL_OK)
  {
    _Error_Handler(__FILE__, __LINE__);
  }

  if (HAL_TIM_PWM_ConfigChannel(&htim1, &sConfigOC, TIM_CHANNEL_4) != HAL_OK)
  {
    _Error_Handler(__FILE__, __LINE__);
  }

  sBreakDeadTimeConfig.OffStateRunMode = TIM_OSSR_DISABLE;
  sBreakDeadTimeConfig.OffStateIDLEMode = TIM_OSSI_DISABLE;
  sBreakDeadTimeConfig.LockLevel = TIM_LOCKLEVEL_OFF;
  sBreakDeadTimeConfig.DeadTime = 0;
  sBreakDeadTimeConfig.BreakState = TIM_BREAK_DISABLE;
  sBreakDeadTimeConfig.BreakPolarity = TIM_BREAKPOLARITY_HIGH;
  sBreakDeadTimeConfig.AutomaticOutput = TIM_AUTOMATICOUTPUT_DISABLE;
  if (HAL_TIMEx_ConfigBreakDeadTime(&htim1, &sBreakDeadTimeConfig) != HAL_OK)
  {
    _Error_Handler(__FILE__, __LINE__);
  }

  HAL_TIM_MspPostInit(&htim1);

}

/** Configure pins as
        * Analog
        * Input
        * Output
        * EVENT_OUT
        * EXTI
*/
static void MX_GPIO_Init(void)
{

  GPIO_InitTypeDef GPIO_InitStruct;

  /* GPIO Ports Clock Enable */
  __HAL_RCC_GPIOC_CLK_ENABLE();
  __HAL_RCC_GPIOH_CLK_ENABLE();
  __HAL_RCC_GPIOA_CLK_ENABLE();
  __HAL_RCC_GPIOB_CLK_ENABLE();
  __HAL_RCC_GPIOF_CLK_ENABLE();
  __HAL_RCC_GPIOE_CLK_ENABLE();
  __HAL_RCC_GPIOD_CLK_ENABLE();
  __HAL_RCC_GPIOG_CLK_ENABLE();

  /*Configure GPIO pin Output Level */
  HAL_GPIO_WritePin(GPIOC, GPIO_PIN_0|GPIO_PIN_1|GPIO_PIN_6|GPIO_PIN_7
                          |GPIO_PIN_8|GPIO_PIN_9, GPIO_PIN_RESET);

  /*Configure GPIO pin Output Level */
  HAL_GPIO_WritePin(GPIOA, GPIO_PIN_0|GPIO_PIN_1|GPIO_PIN_2|GPIO_PIN_4, GPIO_PIN_RESET);

  /*Configure GPIO pin Output Level */
  HAL_GPIO_WritePin(GPIOB, GPIO_PIN_0, GPIO_PIN_RESET);

  /*Configure GPIO pin Output Level */
  HAL_GPIO_WritePin(GPIOF, GPIO_PIN_11, GPIO_PIN_RESET);

  /*Configure GPIO pin Output Level */
  HAL_GPIO_WritePin(GPIOD, GPIO_PIN_10|GPIO_PIN_3, GPIO_PIN_RESET);

  /*Configure GPIO pin Output Level */
  HAL_GPIO_WritePin(GPIOG, GPIO_PIN_4|GPIO_PIN_5|GPIO_PIN_6|GPIO_PIN_7
                          |GPIO_PIN_8|GPIO_PIN_14, GPIO_PIN_RESET);

  /*Configure GPIO pin Output Level */
  HAL_GPIO_WritePin(GPIOE, GPIO_PIN_0|GPIO_PIN_1, GPIO_PIN_RESET);

  /*Configure GPIO pin : PC13 */
  GPIO_InitStruct.Pin = GPIO_PIN_13;
  GPIO_InitStruct.Mode = GPIO_MODE_INPUT;
  GPIO_InitStruct.Pull = GPIO_NOPULL;
  HAL_GPIO_Init(GPIOC, &GPIO_InitStruct);

  /*Configure GPIO pins : PC0 PC1 PC6 PC7
                           PC8 PC9 */
  GPIO_InitStruct.Pin = GPIO_PIN_0|GPIO_PIN_1|GPIO_PIN_6|GPIO_PIN_7
                          |GPIO_PIN_8|GPIO_PIN_9;
  GPIO_InitStruct.Mode = GPIO_MODE_OUTPUT_PP;
  GPIO_InitStruct.Pull = GPIO_NOPULL;
  GPIO_InitStruct.Speed = GPIO_SPEED_FREQ_LOW;
  HAL_GPIO_Init(GPIOC, &GPIO_InitStruct);

  /*Configure GPIO pins : PA0 PA1 PA2 PA4 */
  GPIO_InitStruct.Pin = GPIO_PIN_0|GPIO_PIN_1|GPIO_PIN_2|GPIO_PIN_4;
  GPIO_InitStruct.Mode = GPIO_MODE_OUTPUT_PP;
  GPIO_InitStruct.Pull = GPIO_NOPULL;
  GPIO_InitStruct.Speed = GPIO_SPEED_FREQ_LOW;
  HAL_GPIO_Init(GPIOA, &GPIO_InitStruct);

  /*Configure GPIO pin : PB0 */
  GPIO_InitStruct.Pin = GPIO_PIN_0;
  GPIO_InitStruct.Mode = GPIO_MODE_OUTPUT_PP;
  GPIO_InitStruct.Pull = GPIO_NOPULL;
  GPIO_InitStruct.Speed = GPIO_SPEED_FREQ_LOW;
  HAL_GPIO_Init(GPIOB, &GPIO_InitStruct);

  /*Configure GPIO pin : PF11 */
  GPIO_InitStruct.Pin = GPIO_PIN_11;
  GPIO_InitStruct.Mode = GPIO_MODE_OUTPUT_PP;
  GPIO_InitStruct.Pull = GPIO_NOPULL;
  GPIO_InitStruct.Speed = GPIO_SPEED_FREQ_LOW;
  HAL_GPIO_Init(GPIOF, &GPIO_InitStruct);

  /*Configure GPIO pins : PD10 PD3 */
  GPIO_InitStruct.Pin = GPIO_PIN_10|GPIO_PIN_3;
  GPIO_InitStruct.Mode = GPIO_MODE_OUTPUT_PP;
  GPIO_InitStruct.Pull = GPIO_NOPULL;
  GPIO_InitStruct.Speed = GPIO_SPEED_FREQ_LOW;
  HAL_GPIO_Init(GPIOD, &GPIO_InitStruct);

  /*Configure GPIO pins : PG4 PG5 PG6 PG7
                           PG8 PG14 */
  GPIO_InitStruct.Pin = GPIO_PIN_4|GPIO_PIN_5|GPIO_PIN_6|GPIO_PIN_7
                          |GPIO_PIN_8|GPIO_PIN_14;
  GPIO_InitStruct.Mode = GPIO_MODE_OUTPUT_PP;
  GPIO_InitStruct.Pull = GPIO_NOPULL;
  GPIO_InitStruct.Speed = GPIO_SPEED_FREQ_LOW;
  HAL_GPIO_Init(GPIOG, &GPIO_InitStruct);

  /*Configure GPIO pins : PA8 PA9 PA10 PA11
                           PA12 PA13 PA14 PA15 */
  GPIO_InitStruct.Pin = GPIO_PIN_8|GPIO_PIN_9|GPIO_PIN_10|GPIO_PIN_11
                          |GPIO_PIN_12|GPIO_PIN_13|GPIO_PIN_14|GPIO_PIN_15;
  GPIO_InitStruct.Mode = GPIO_MODE_INPUT;
  GPIO_InitStruct.Pull = GPIO_PULLUP;
  HAL_GPIO_Init(GPIOA, &GPIO_InitStruct);

  /*Configure GPIO pins : PE0 PE1 */
  GPIO_InitStruct.Pin = GPIO_PIN_0|GPIO_PIN_1;
  GPIO_InitStruct.Mode = GPIO_MODE_OUTPUT_PP;
  GPIO_InitStruct.Pull = GPIO_NOPULL;
  GPIO_InitStruct.Speed = GPIO_SPEED_FREQ_LOW;
  HAL_GPIO_Init(GPIOE, &GPIO_InitStruct);

}

/* Thread1 function */
void Thread1(void const * argument)
{

  for(;;)
  {
if(PB1){
			lcd_clear();

			while(1){
				lengan_p_kanan(25);

				if(Limit_Lengan_Belakang){
					lengan_rem();
				}
		}
	}

		osDelay(1);
  }
  /* USER CODE END 5 */
}

/* Thread2 function */
void Thread2(void const * argument)
{
  for(;;)
  {
    osDelay(1);
  }
}

void HAL_TIM_PeriodElapsedCallback(TIM_HandleTypeDef *htim)
{
  if (htim->Instance == TIM2) {
    HAL_IncTick();
  }
}

void _Error_Handler(char * file, int line)
{
  while(1)
  {
  }
}

/************************ (C) COPYRIGHT STMicroelectronics *****END OF FILE****/
